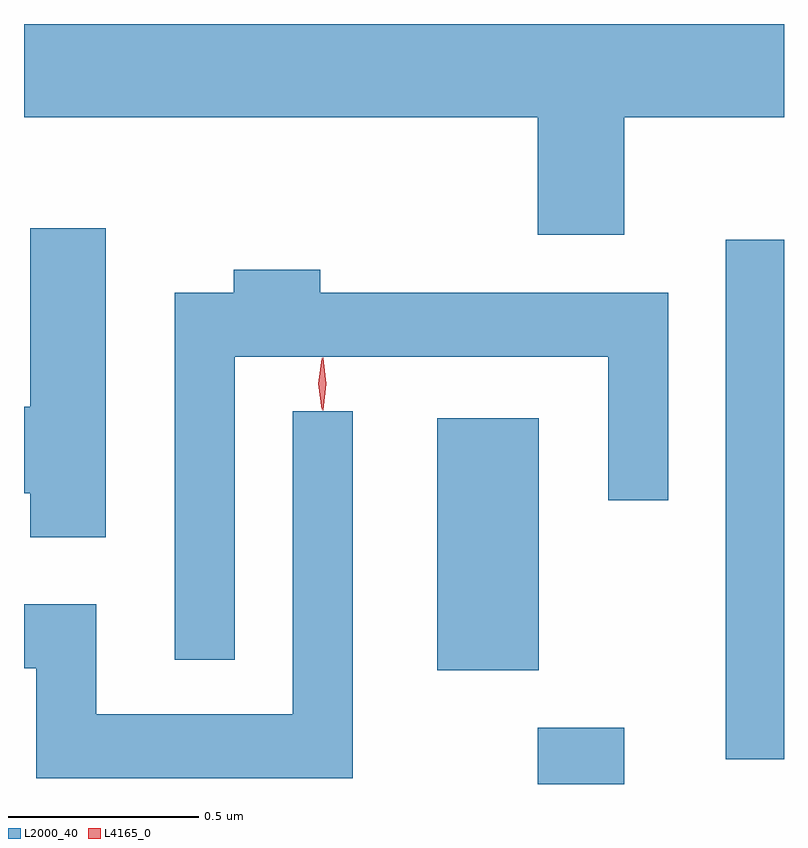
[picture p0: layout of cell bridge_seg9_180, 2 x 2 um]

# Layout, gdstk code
import gdstk
lib = gdstk.Library(unit=1e-6, precision=1e-09)
def R(c, l, rs):  # rectangles x0, y0, x1, y1
    for r in rs: c.add(gdstk.rectangle(r[:2], r[2:], *l))
def P(c, l, *ps):  # polygons
    for p in ps: c.add(gdstk.Polygon(p, *l))
L2000_40 = (2000, 40)
L4165_0 = (4165, 0)

bridge_seg9_180 = lib.new_cell('bridge_seg9_180')
R(bridge_seg9_180, L2000_40, [(1437.631,2047.781,1437.859,2047.929), (1438.126,2047.846,1438.279,2049.213), (1437.366,2048.081,1437.634,2048.744)])
P(bridge_seg9_180, L2000_40, [(1437.859,2049.536),(1438.279,2049.536),(1438.279,2049.781),(1436.279,2049.781),(1436.279,2049.536),(1437.631,2049.536),(1437.631,2049.226),(1437.859,2049.226)],
  [(1436.494,2049.244),(1436.296,2049.244),(1436.296,2048.774),(1436.279,2048.774),(1436.279,2048.546),(1436.296,2048.546),(1436.296,2048.431),(1436.494,2048.431)],
  [(1436.834,2048.906),(1437.816,2048.906),(1437.816,2048.528),(1437.974,2048.528),(1437.974,2049.074),(1437.059,2049.074),(1437.059,2049.134),(1436.831,2049.134),(1436.831,2049.074),(1436.676,2049.074),(1436.676,2048.108),(1436.834,2048.108)],
  [(1437.144,2048.762),(1436.986,2048.762),(1436.986,2047.964),(1436.469,2047.964),(1436.469,2048.254),(1436.279,2048.254),(1436.279,2048.086),(1436.311,2048.086),(1436.311,2047.796),(1437.144,2047.796)])
P(bridge_seg9_180, L4165_0, [(1437.065,2048.764),(1437.065,2048.764),(1437.055,2048.834),(1437.065,2048.903),(1437.065,2048.903),(1437.066,2048.903),(1437.075,2048.834),(1437.066,2048.764)],
  [(1437.062,2048.767),(1437.053,2048.834),(1437.062,2048.9),(1437.063,2048.901),(1437.063,2048.9),(1437.073,2048.834),(1437.063,2048.767),(1437.063,2048.767)])

lib.write_gds('bridge_seg9_180.gds')
